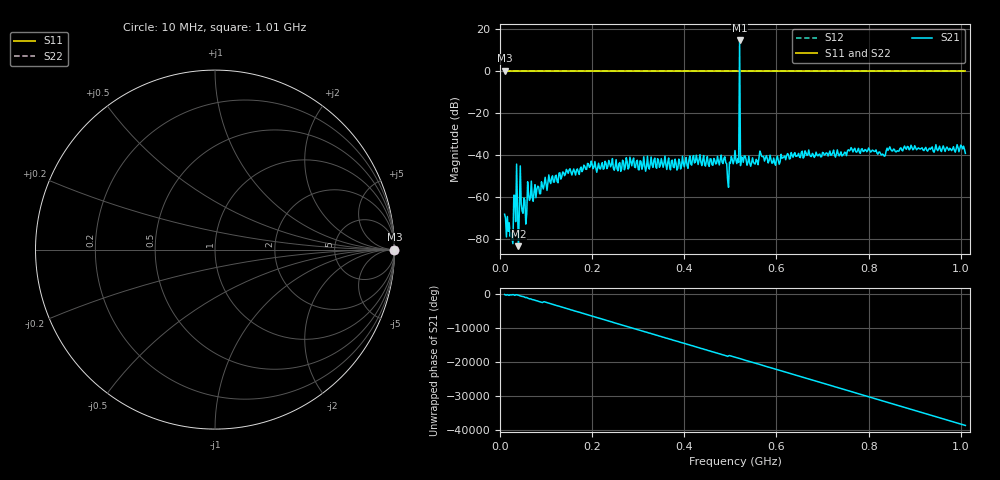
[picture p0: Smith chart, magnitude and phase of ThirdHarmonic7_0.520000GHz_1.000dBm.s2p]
! 8/17/2025 3:16:11 PM
! C:\ANRITSUVNA\TEMP\TEMP.S2P
! CHANNEL.1
! TR.MEASUREMENT
! RAW.DATA
! RF.CORRECTION.OFF
! AVERAGING.OFF
! IF.BANDWIDTH: 5KHZ
! SWEEPTYPE:  FREQ.SWEEP(Linear)
! Reference Plane Port Info
! PORT:  PORT1  PORT2
! DISTANCE:  0  m  0  m
! TIME:  0  s  0  s
! PHASE.OFFSET:  0  deg.  0  deg.
! LOSS:  0  dB  0  dB
! REF.LOSS:  0  dB  0  dB
! REF.FREQ:  0  Hz  0  Hz
! Power Info
! POWER:  -20  dBm  -20  dBm
! EFF.POWER:  -20  dBm  -20  dBm
! SOURCE.ATTEN:  0  dB  0  dB
! TEST.ATTEN:  0  dB  0  dB
# GHZ S RI R 50.0
! FREQ.GHZ  S11RE  S11IM  S21RE  S21IM  S12RE  S12IM  S22RE  S22IM
!; PortSelection: Port_12
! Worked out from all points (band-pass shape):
!   501 points, 10 MHz to 1.01 GHz, reference 50 ohm
!   highest |S21| = 14.42 dB at 520 MHz (marker M1); lowest = -83.6 dB at 40 MHz (marker M2)
!   |S21| within 3 dB of the highest: 519.8968 MHz to 520.1006 MHz (203.8 kHz wide, 0.0392 % of centre)
!   lowest |S11| = 0.0 dB at 10 MHz (marker M3)
!   |S11| at or under -10 dB: nowhere
!   |S22| runs from 0.0 to 0.0 dB; largest |S21 - S12| = 6.3
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0.01  1 0  -0.000133 -0.000356  1 0  1 0
0.024  1 0  -5.96e-05 0.000125  1 0  1 0
0.034  1 0  -0.000197 0.00016  1 0  1 0
0.038  1 0  -0.000164 0.000487  1 0  1 0
0.04  1 0  2.23e-05 6.2e-05  1 0  1 0
0.044  1 0  -0.00435 -0.0032  1 0  1 0
0.048  1 0  0.000327 0.000313  1 0  1 0
0.054  1 0  -0.000709 0.000369  1 0  1 0
0.064  1 0  0.0004 0.000709  1 0  1 0
0.178  1 0  -0.00386 -0.000753  1 0  1 0
0.344  1 0  0.00709 -0.00227  1 0  1 0
0.484  1 0  -0.00559 0.00254  1 0  1 0
0.496  1 0  -0.00114 -0.00121  1 0  1 0
0.51  1 0  -0.0124 -0.00166  1 0  1 0
0.514  1 0  0.0054 0.00291  1 0  1 0
0.516  1 0  0.00603 -0.00533  1 0  1 0
0.52  1 0  -5.206 0.7702  1 0  1 0
0.524  1 0  0.00871 -0.000945  1 0  1 0
0.526  1 0  -0.00239 -0.00803  1 0  1 0
0.678  1 0  0.00576 -0.00902  1 0  1 0
0.844  1 0  -0.00599 0.0123  1 0  1 0
1.01  1 0  -0.000385 -0.0107  1 0  1 0
